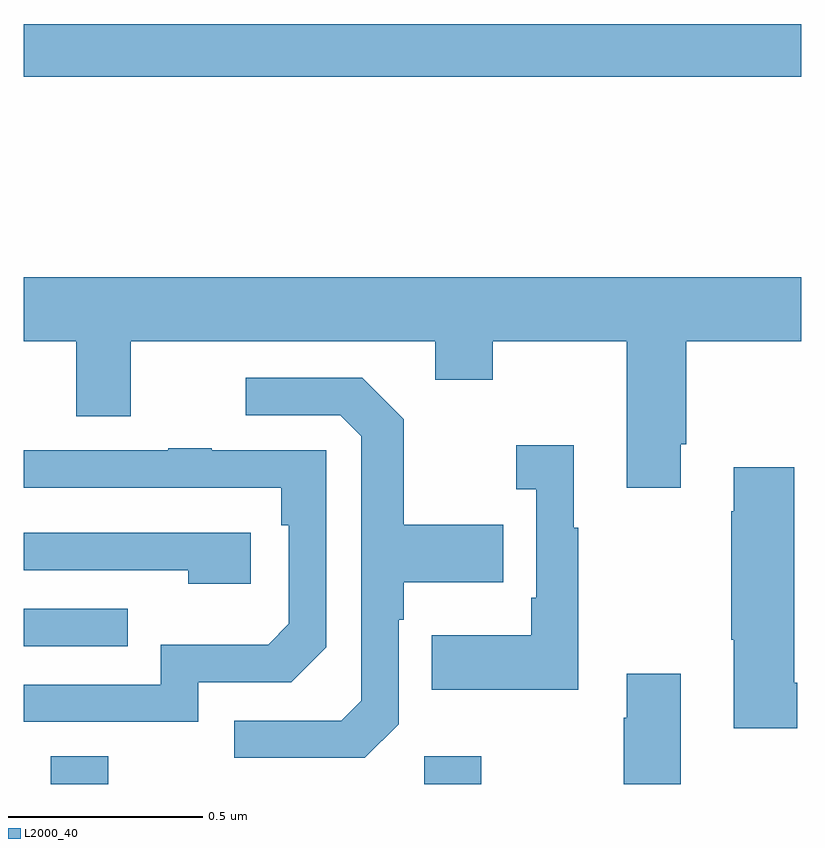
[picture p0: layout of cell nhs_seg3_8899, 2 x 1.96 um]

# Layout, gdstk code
import gdstk
lib = gdstk.Library(unit=1e-6, precision=1e-09)
def R(c, l, rs):  # rectangles x0, y0, x1, y1
    for r in rs: c.add(gdstk.rectangle(r[:2], r[2:], *l))
def P(c, l, *ps):  # polygons
    for p in ps: c.add(gdstk.Polygon(p, *l))
L2000_40 = (2000, 40)

nhs_seg3_8899 = lib.new_cell('nhs_seg3_8899')
R(nhs_seg3_8899, L2000_40, [(221.069,742.4,221.217,742.471), (222.03,742.4,222.177,742.471), (221,742.755,221.267,742.851), (221,744.22,223,744.356)])
P(nhs_seg3_8899, L2000_40, [(222.691,743.275),(222.704,743.275),(222.704,743.54),(223,743.54),(223,743.704),(221,743.704),(221,743.54),(221.135,743.54),(221.135,743.346),(221.275,743.346),(221.275,743.54),(222.059,743.54),(222.059,743.441),(222.207,743.441),(222.207,743.54),(222.551,743.54),(222.551,743.163),(222.691,743.163)],
  [(221.964,742.554),(221.964,742.823),(221.977,742.823),(221.977,742.919),(222.233,742.919),(222.233,743.067),(221.977,743.067),(221.977,743.339),(221.871,743.445),(221.571,743.445),(221.571,743.349),(221.814,743.349),(221.868,743.295),(221.868,742.614),(221.817,742.563),(221.541,742.563),(221.541,742.467),(221.877,742.467)],
  [(222.427,743.059),(222.415,743.059),(222.415,743.272),(222.267,743.272),(222.267,743.159),(222.318,743.159),(222.318,742.879),(222.306,742.879),(222.306,742.783),(222.049,742.783),(222.049,742.643),(222.427,742.643)],
  [(221.448,742.662),(221.688,742.662),(221.778,742.752),(221.778,743.259),(221.483,743.259),(221.483,743.264),(221.371,743.264),(221.371,743.259),(221,743.259),(221,743.163),(221.662,743.163),(221.662,743.066),(221.682,743.066),(221.682,742.812),(221.629,742.759),(221.352,742.759),(221.352,742.656),(221,742.656),(221,742.56),(221.448,742.56)],
  [(222.99,742.66),(222.982,742.66),(222.982,743.215),(222.827,743.215),(222.827,743.102),(222.82,743.102),(222.82,742.771),(222.827,742.771),(222.827,742.544),(222.99,742.544)],
  [(221.584,743.046),(221,743.046),(221,742.95),(221.423,742.95),(221.423,742.916),(221.584,742.916)],
  [(222.691,742.684),(222.551,742.684),(222.551,742.571),(222.544,742.571),(222.544,742.4),(222.691,742.4)])

lib.write_gds('nhs_seg3_8899.gds')
